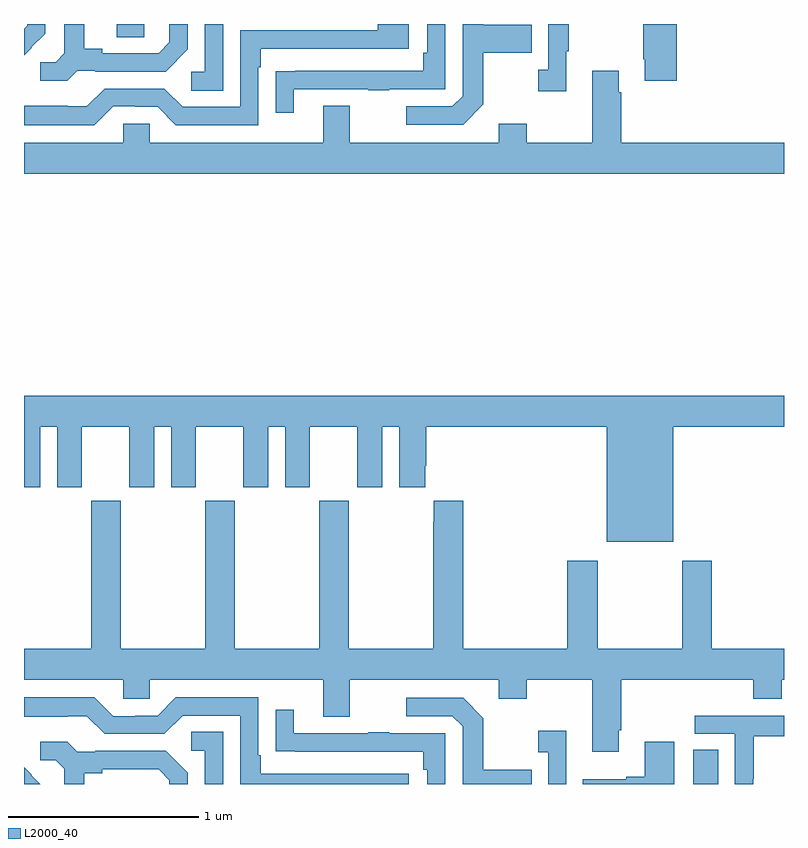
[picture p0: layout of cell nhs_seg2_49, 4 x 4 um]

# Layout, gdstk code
import gdstk
lib = gdstk.Library(unit=1e-6, precision=1e-09)
def R(c, l, rs):  # rectangles x0, y0, x1, y1
    for r in rs: c.add(gdstk.rectangle(r[:2], r[2:], *l))
def P(c, l, *ps):  # polygons
    for p in ps: c.add(gdstk.Polygon(p, *l))
L2000_40 = (2000, 40)

nhs_seg2_49 = lib.new_cell('nhs_seg2_49')
R(nhs_seg2_49, L2000_40, [(116.522,601.8,116.653,601.979), (113.489,605.731,113.634,605.8)])
P(nhs_seg2_49, L2000_40, [(115.417,605.377),(115.417,605.65),(115.673,605.65),(115.673,605.797),(115.417,605.797),(115.417,605.8),(115.308,605.8),(115.308,605.421),(115.254,605.367),(115.011,605.367),(115.011,605.271),(115.311,605.271)],
  [(114.048,605.8),(113.952,605.8),(113.952,605.55),(113.88,605.55),(113.88,605.449),(114.048,605.449)],
  [(116.435,605.8),(116.26,605.8),(116.26,605.614),(116.267,605.614),(116.267,605.502),(116.435,605.502)],
  [(113.28,605.553),(113.374,605.553),(113.374,605.55),(113.746,605.55),(113.862,605.666),(113.862,605.8),(113.765,605.8),(113.765,605.703),(113.708,605.646),(113.413,605.646),(113.413,605.669),(113.317,605.669),(113.317,605.8),(113.213,605.8),(113.213,605.645),(113.166,605.598),(113.085,605.598),(113.085,605.501),(113.228,605.501)],
  [(114.421,605.457),(114.811,605.457),(114.811,605.452),(114.923,605.452),(114.923,605.457),(115.218,605.457),(115.218,605.8),(115.122,605.8),(115.122,605.65),(115.102,605.65),(115.102,605.553),(114.427,605.553),(114.427,605.552),(114.325,605.552),(114.325,605.334),(114.421,605.334)],
  [(115.855,605.657),(115.867,605.657),(115.867,605.8),(115.758,605.8),(115.758,605.558),(115.707,605.558),(115.707,605.445),(115.855,605.445)],
  [(113.04,605.676),(113.039,605.677),(113.112,605.75),(113.112,605.8),(113.018,605.8),(113.018,605.792),(113,605.774),(113,605.636)],
  [(113.469,605.367),(113.585,605.367),(113.585,605.364),(113.703,605.364),(113.799,605.268),(114.234,605.268),(114.234,605.573),(114.247,605.573),(114.247,605.67),(115.024,605.67),(115.024,605.8),(114.863,605.8),(114.863,605.766),(114.138,605.766),(114.138,605.364),(113.835,605.364),(113.739,605.46),(113.424,605.46),(113.331,605.367),(113.231,605.367),(113.231,605.371),(113,605.371),(113,605.267),(113.369,605.267)],
  [(117,605.176),(116.144,605.176),(116.144,605.441),(116.131,605.441),(116.131,605.554),(115.991,605.554),(115.991,605.176),(115.647,605.176),(115.647,605.275),(115.499,605.275),(115.499,605.176),(114.715,605.176),(114.715,605.371),(114.575,605.371),(114.575,605.176),(113.661,605.176),(113.661,605.274),(113.523,605.274),(113.523,605.176),(113,605.176),(113,605.012),(117,605.012)],
  [(116.416,603.68),(117,603.68),(117,603.844),(113,603.844),(113,603.363),(113.086,603.363),(113.086,603.68),(113.174,603.68),(113.174,603.363),(113.305,603.363),(113.305,603.68),(113.555,603.68),(113.555,603.363),(113.686,603.363),(113.686,603.68),(113.774,603.68),(113.774,603.363),(113.905,603.363),(113.905,603.68),(114.155,603.68),(114.155,603.363),(114.286,603.363),(114.286,603.68),(114.374,603.68),(114.374,603.363),(114.505,603.363),(114.505,603.68),(114.755,603.68),(114.755,603.363),(114.886,603.363),(114.886,603.68),(114.974,603.68),(114.974,603.363),(115.111,603.363),(115.111,603.475),(115.118,603.475),(115.118,603.68),(116.066,603.68),(116.066,603.074),(116.416,603.074)],
  [(116.131,602.083),(116.144,602.083),(116.144,602.348),(116.837,602.348),(116.837,602.249),(116.989,602.249),(116.989,602.348),(117,602.348),(117,602.512),(116.619,602.512),(116.619,602.974),(116.464,602.974),(116.464,602.512),(116.019,602.512),(116.019,602.974),(115.859,602.974),(115.859,602.512),(115.313,602.512),(115.313,603.292),(115.157,603.292),(115.157,603.179),(115.153,603.179),(115.153,602.512),(114.708,602.512),(114.708,603.292),(114.553,603.292),(114.553,602.512),(114.108,602.512),(114.108,603.292),(113.953,603.292),(113.953,602.512),(113.508,602.512),(113.508,603.292),(113.353,603.292),(113.353,602.512),(113,602.512),(113,602.348),(113.523,602.348),(113.523,602.25),(113.661,602.25),(113.661,602.348),(114.575,602.348),(114.575,602.154),(114.715,602.154),(114.715,602.348),(115.499,602.348),(115.499,602.249),(115.647,602.249),(115.647,602.348),(115.991,602.348),(115.991,601.971),(116.131,601.971)],
  [(115.024,601.854),(114.247,601.854),(114.247,601.951),(114.234,601.951),(114.234,602.256),(113.799,602.256),(113.703,602.16),(113.585,602.16),(113.585,602.157),(113.469,602.157),(113.369,602.257),(113,602.257),(113,602.153),(113.231,602.153),(113.231,602.157),(113.331,602.157),(113.424,602.064),(113.739,602.064),(113.835,602.16),(114.138,602.16),(114.138,601.8),(115.024,601.8)],
  [(115.673,601.875),(115.417,601.875),(115.417,602.147),(115.311,602.253),(115.011,602.253),(115.011,602.157),(115.254,602.157),(115.308,602.103),(115.308,601.8),(115.673,601.8)],
  [(115.218,602.067),(114.923,602.067),(114.923,602.072),(114.811,602.072),(114.811,602.067),(114.421,602.067),(114.421,602.191),(114.325,602.191),(114.325,601.972),(114.427,601.972),(114.427,601.971),(115.102,601.971),(115.102,601.874),(115.122,601.874),(115.122,601.8),(115.218,601.8)],
  [(116.838,601.828),(116.841,601.828),(116.841,602.052),(117,602.052),(117,602.16),(116.529,602.16),(116.529,602.064),(116.742,602.064),(116.742,601.8),(116.838,601.8)],
  [(115.854,602.08),(115.707,602.08),(115.707,601.967),(115.758,601.967),(115.758,601.8),(115.854,601.8)],
  [(114.048,602.075),(113.88,602.075),(113.88,601.974),(113.952,601.974),(113.952,601.8),(114.048,601.8)],
  [(113.317,601.856),(113.413,601.856),(113.413,601.878),(113.708,601.878),(113.765,601.821),(113.765,601.8),(113.862,601.8),(113.862,601.858),(113.746,601.974),(113.374,601.974),(113.374,601.971),(113.28,601.971),(113.228,602.023),(113.085,602.023),(113.085,601.926),(113.166,601.926),(113.213,601.879),(113.213,601.8),(113.317,601.8)],
  [(116.422,602.023),(116.267,602.023),(116.267,601.838),(116.171,601.838),(116.171,601.825),(115.941,601.825),(115.941,601.8),(116.422,601.8)],
  [(113.039,601.847),(113.04,601.848),(113,601.888),(113,601.8),(113.086,601.8)])

lib.write_gds('nhs_seg2_49.gds')
